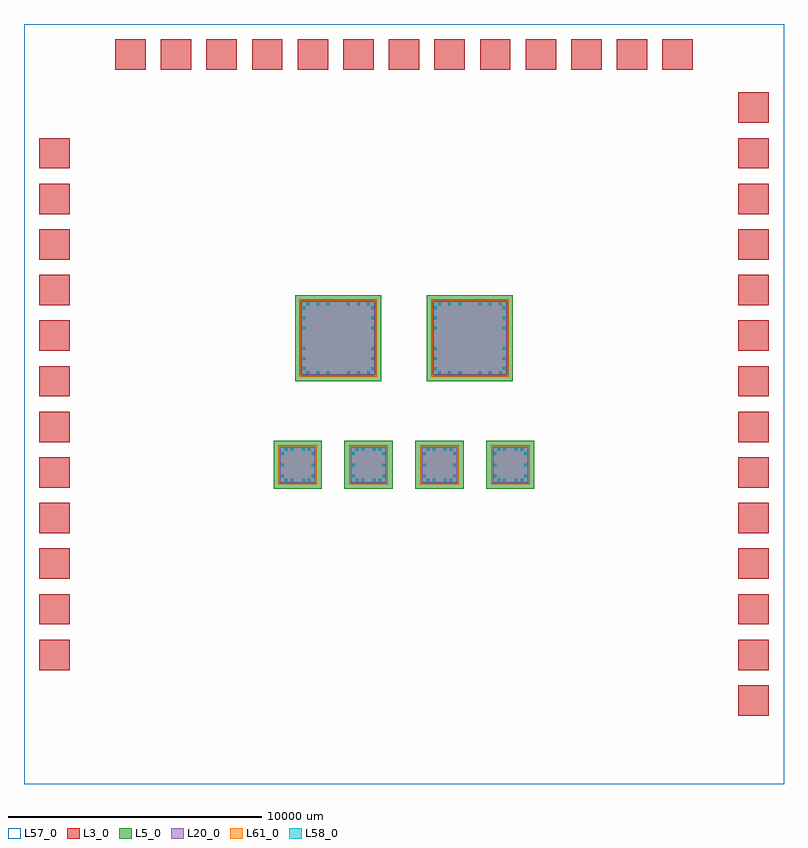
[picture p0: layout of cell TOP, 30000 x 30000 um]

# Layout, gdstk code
import gdstk
lib = gdstk.Library(unit=1e-6, precision=1e-09)
def R(c, l, rs):  # rectangles x0, y0, x1, y1
    for r in rs: c.add(gdstk.rectangle(r[:2], r[2:], *l))
def A(c, l, x, y, w, h, nx, ny, dx, dy):  # array of equal rectangles
    R(c, l, [(x+i*dx, y+j*dy, x+i*dx+w, y+j*dy+h) for i in range(nx) for j in range(ny)])
L3_0 = (3, 0)
L5_0 = (5, 0)
L20_0 = (20, 0)
L57_0 = (57, 0)
L58_0 = (58, 0)
L61_0 = (61, 0)

die_54as181 = lib.new_cell('DIE_54AS181')
R(die_54as181, L5_0, [(-1700,-1700,1700,1700)])
R(die_54as181, L20_0, [(-1450,-1450,1450,1450)])
A(die_54as181, L58_0, -1250, -1400, 100, 100, 3, 2, 400, 2700)
A(die_54as181, L58_0, 350, -1400, 100, 100, 3, 2, 400, 2700)
A(die_54as181, L58_0, -1400, -1250, 100, 100, 1, 3, 0, 400)
A(die_54as181, L58_0, 1300, -1250, 100, 100, 1, 3, 0, 400)
A(die_54as181, L58_0, -1400, 350, 100, 100, 1, 3, 0, 400)
A(die_54as181, L58_0, 1300, 350, 100, 100, 1, 3, 0, 400)
die_54as181.add(gdstk.FlexPath([(-1500,-1500),(1500,-1500),(1500,1500),(-1500,1500),(-1500,-1500)], 60, ends="flush", simple_path=True, layer=61, datatype=0))  # L61_0

die_54ls27 = lib.new_cell('DIE_54LS27')
R(die_54ls27, L5_0, [(-950,-950,950,950)])
R(die_54ls27, L20_0, [(-700,-700,700,700)])
A(die_54ls27, L58_0, -650, -500, 100, 100, 1, 3, 0, 450)
A(die_54ls27, L58_0, 550, -500, 100, 100, 1, 3, 0, 450)
R(die_54ls27, L58_0, [(-500,-650,-400,-550), (-275,-650,-175,-550), (175,-650,275,-550), (400,-650,500,-550), (-500,550,-400,650), (-275,550,-175,650), (175,550,275,650), (400,550,500,650)])
die_54ls27.add(gdstk.FlexPath([(-750,-750),(750,-750),(750,750),(-750,750),(-750,-750)], 30, ends="flush", simple_path=True, layer=61, datatype=0))  # L61_0

die_54ls30 = lib.new_cell('DIE_54LS30')
R(die_54ls30, L5_0, [(-950,-950,950,950)])
R(die_54ls30, L20_0, [(-700,-700,700,700)])
A(die_54ls30, L58_0, -650, -500, 100, 100, 1, 3, 0, 450)
A(die_54ls30, L58_0, 550, -500, 100, 100, 1, 3, 0, 450)
R(die_54ls30, L58_0, [(-500,-650,-400,-550), (-275,-650,-175,-550), (175,-650,275,-550), (400,-650,500,-550), (-500,550,-400,650), (-275,550,-175,650), (175,550,275,650), (400,550,500,650)])
die_54ls30.add(gdstk.FlexPath([(-750,-750),(750,-750),(750,750),(-750,750),(-750,-750)], 30, ends="flush", simple_path=True, layer=61, datatype=0))  # L61_0

die_54ls86 = lib.new_cell('DIE_54LS86')
R(die_54ls86, L5_0, [(-950,-950,950,950)])
R(die_54ls86, L20_0, [(-700,-700,700,700)])
A(die_54ls86, L58_0, -650, -500, 100, 100, 1, 3, 0, 450)
A(die_54ls86, L58_0, 550, -500, 100, 100, 1, 3, 0, 450)
R(die_54ls86, L58_0, [(-500,-650,-400,-550), (-275,-650,-175,-550), (175,-650,275,-550), (400,-650,500,-550), (-500,550,-400,650), (-275,550,-175,650), (175,550,275,650), (400,550,500,650)])
die_54ls86.add(gdstk.FlexPath([(-750,-750),(750,-750),(750,750),(-750,750),(-750,-750)], 30, ends="flush", simple_path=True, layer=61, datatype=0))  # L61_0

die_54ls00 = lib.new_cell('DIE_54LS00')
R(die_54ls00, L5_0, [(-950,-950,950,950)])
R(die_54ls00, L20_0, [(-700,-700,700,700)])
A(die_54ls00, L58_0, -650, -500, 100, 100, 1, 3, 0, 450)
A(die_54ls00, L58_0, 550, -500, 100, 100, 1, 3, 0, 450)
R(die_54ls00, L58_0, [(-500,-650,-400,-550), (-275,-650,-175,-550), (175,-650,275,-550), (400,-650,500,-550), (-500,550,-400,650), (-275,550,-175,650), (175,550,275,650), (400,550,500,650)])
die_54ls00.add(gdstk.FlexPath([(-750,-750),(750,-750),(750,750),(-750,750),(-750,-750)], 30, ends="flush", simple_path=True, layer=61, datatype=0))  # L61_0

top = lib.new_cell('TOP')
A(top, L3_0, 13200, -12300, 1200, 1200, 1, 14, 0, 1800)
A(top, L3_0, -14400, -10500, 1200, 1200, 1, 12, 0, 1800)
A(top, L3_0, -11400, 13200, 1200, 1200, 13, 1, 1800, 0)
R(top, L57_0, [(-15000,-15000,15000,15000)])
top.add(gdstk.Reference(die_54as181, (-2600,2600)))
top.add(gdstk.Reference(die_54as181, (2600,2600)))
top.add(gdstk.Reference(die_54ls27, (-4200,-2400)))
top.add(gdstk.Reference(die_54ls30, (-1400,-2400)))
top.add(gdstk.Reference(die_54ls86, (1400,-2400)))
top.add(gdstk.Reference(die_54ls00, (4200,-2400)))

lib.write_gds('TOP.gds')
